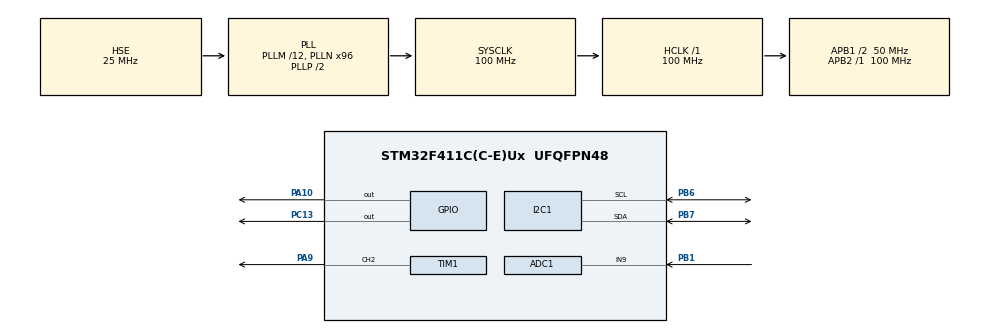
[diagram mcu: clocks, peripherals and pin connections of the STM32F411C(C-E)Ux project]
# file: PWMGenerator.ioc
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ADC1.Channel-2\#ChannelRegularConversion=ADC_CHANNEL_9
ADC1.ContinuousConvMode=ENABLE
ADC1.DMAContinuousRequests=ENABLE
ADC1.NbrOfConversion=1
ADC1.NbrOfConversionFlag=1
ADC1.Rank-2\#ChannelRegularConversion=1
ADC1.SamplingTime-2\#ChannelRegularConversion=ADC_SAMPLETIME_480CYCLES
ADC1.ScanConvMode=ENABLE
ADC1.master=1
Dma.ADC1.0.Direction=DMA_PERIPH_TO_MEMORY
Dma.ADC1.0.FIFOMode=DMA_FIFOMODE_DISABLE
Dma.ADC1.0.Instance=DMA2_Stream0
Dma.ADC1.0.MemDataAlignment=DMA_MDATAALIGN_HALFWORD
Dma.ADC1.0.MemInc=DMA_MINC_ENABLE
Dma.ADC1.0.Mode=DMA_CIRCULAR
Dma.ADC1.0.PeriphDataAlignment=DMA_PDATAALIGN_HALFWORD
Dma.ADC1.0.PeriphInc=DMA_PINC_DISABLE
Dma.ADC1.0.Priority=DMA_PRIORITY_LOW
Dma.Request0=ADC1
I2C1.I2C_Mode=I2C_Fast
Mcu.Family=STM32F4
Mcu.Name=STM32F411C(C-E)Ux
Mcu.Package=UFQFPN48
NVIC.DMA2_Stream0_IRQn=true\:0\:0\:false\:false\:true\:false\:true\:true
NVIC.PriorityGroup=NVIC_PRIORITYGROUP_4
PA10.Signal=GPIO_Output
PA13.Mode=Serial_Wire
PA13.Signal=SYS_JTMS-SWDIO
PA14.Mode=Serial_Wire
PA14.Signal=SYS_JTCK-SWCLK
PA9.Signal=S_TIM1_CH2
PB1.Signal=ADCx_IN9
PB6.Mode=I2C
PB6.Signal=I2C1_SCL
PB7.Mode=I2C
PB7.Signal=I2C1_SDA
PC13-ANTI_TAMP.Signal=GPIO_Output
PH0\ -\ OSC_IN.Mode=HSE-External-Oscillator
PH0\ -\ OSC_IN.Signal=RCC_OSC_IN
PH1\ -\ OSC_OUT.Mode=HSE-External-Oscillator
PH1\ -\ OSC_OUT.Signal=RCC_OSC_OUT
ProjectManager.HeapSize=0x200
ProjectManager.StackSize=0x400
ProjectManager.TargetToolchain=STM32CubeIDE
RCC.48MHZClocksFreq_Value=50000000
RCC.AHBFreq_Value=100000000
RCC.APB1CLKDivider=RCC_HCLK_DIV2
RCC.APB1Freq_Value=50000000
RCC.APB1TimFreq_Value=100000000
RCC.APB2Freq_Value=100000000
RCC.APB2TimFreq_Value=100000000
RCC.CortexFreq_Value=100000000
RCC.HCLKFreq_Value=100000000
RCC.HSE_VALUE=25000000
RCC.HSI_VALUE=16000000
RCC.LSE_VALUE=32768
RCC.PLLM=12
RCC.PLLN=96
RCC.PLLSourceVirtual=RCC_PLLSOURCE_HSE
RCC.SYSCLKFreq_VALUE=100000000
RCC.SYSCLKSource=RCC_SYSCLKSOURCE_PLLCLK
RCC.VCOOutputFreq_Value=200000000
SH.ADCx_IN9.0=ADC1_IN9,IN9
SH.S_TIM1_CH2.0=TIM1_CH2,PWM Generation2 CH2
TIM1.AutoReloadPreload=TIM_AUTORELOAD_PRELOAD_ENABLE
TIM1.Channel-PWM\ Generation2\ CH2=TIM_CHANNEL_2
TIM1.Period=20000-1
TIM1.Prescaler=100-1
VP_TIM1_VS_ClockSourceINT.Mode=Internal
board=custom

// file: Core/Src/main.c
/* USER CODE BEGIN Header */
/**
  ******************************************************************************
  * @file           : main.c
  * @brief          : Main program body
  ******************************************************************************
  * @attention
  *
  * Copyright (c) 2023 STMicroelectronics.
  * All rights reserved.
  *
  * This software is licensed under terms that can be found in the LICENSE file
  * in the root directory of this software component.
  * If no LICENSE file comes with this software, it is provided AS-IS.
  *
  * OLED:
  * https://controllerstech.com/oled-display-using-i2c-stm32/
  ******************************************************************************
  */
/* USER CODE END Header */
#include "main.h"

/* USER CODE BEGIN Includes */

#include <stdio.h>
#include "ssd1306.h"
#include "fonts.h"
#include "test.h"

/* USER CODE END Includes */

ADC_HandleTypeDef hadc1;
DMA_HandleTypeDef hdma_adc1;

I2C_HandleTypeDef hi2c1;

TIM_HandleTypeDef htim1;

void SystemClock_Config(void);
static void MX_GPIO_Init(void);
static void MX_DMA_Init(void);
static void MX_TIM1_Init(void);
static void MX_ADC1_Init(void);
static void MX_I2C1_Init(void);

/* USER CODE BEGIN 0 */
uint32_t adcDMA = 0;
uint16_t readValue;
uint16_t readMin = 4095;
uint16_t readMax = 0;
uint16_t readRange = 0;
uint16_t readMap;
float dutyCycle;
uint16_t period = 20000; // 50 Hz = 20ms = 20000us
uint16_t dutyTime;
uint16_t remainderTime;
uint16_t pw_desired;

float EMA_a = 0.6;      //initialization of EMA alpha ( Exponential Moving Average Filter )
int EMA_S = 0;          //initialization of EMA S

char strBuf[50];

void delay_us (uint16_t us)
{
	__HAL_TIM_SET_COUNTER(&htim1,0);  // set the counter value a 0
	while (__HAL_TIM_GET_COUNTER(&htim1) < us);  // wait for the counter to reach the us input in the parameter
}

static void setDutyCycle(TIM_HandleTypeDef* const htim, uint32_t channel, float duty_cycle) {
	if (duty_cycle > 100)
		duty_cycle = 100;

	if (duty_cycle < 0)
		duty_cycle = 0;

	float pw_resolution = (((float)(*htim).Init.Period + 1.0f) / 100.0f);

	pw_desired = pw_resolution * duty_cycle;
	__HAL_TIM_SET_COMPARE(htim, channel, pw_desired);
}

/* USER CODE END 0 */

int main(void)
{

  /* MCU Configuration--------------------------------------------------------*/

  /* Reset of all peripherals, Initializes the Flash interface and the Systick. */
  HAL_Init();

  /* Configure the system clock */
  SystemClock_Config();

  /* Initialize all configured peripherals */
  MX_GPIO_Init();
  MX_DMA_Init();
  MX_TIM1_Init();
  MX_ADC1_Init();
  MX_I2C1_Init();
  /* USER CODE BEGIN 2 */

  //HAL_ADCEx_Calibration_Start(&hadc1);

  SSD1306_Init (); // initialize the display

  SSD1306_GotoXY (10,5); // goto 10, 10
  SSD1306_Puts ("Omar", &Font_11x18, 1); // print Hello
  SSD1306_GotoXY (10, 25);
  SSD1306_Puts ("Achraf", &Font_11x18, 1);
  SSD1306_GotoXY (10,45);
  SSD1306_Puts ("Calibrating...", &Font_7x10, 1);
  SSD1306_UpdateScreen(); // update screen

  uint32_t prevTicks = HAL_GetTick();
  uint32_t currTicks;
  uint32_t loopCounter = 0;

  do {
	  HAL_GPIO_TogglePin(GPIOC, GPIO_PIN_13);
	  HAL_Delay(50);
	  currTicks = HAL_GetTick();
  } while (HAL_ADC_GetState(&hadc1) != HAL_ADC_STATE_READY || (currTicks - prevTicks < 3000));

  HAL_ADC_Start_DMA(&hadc1, &adcDMA, 1);
  HAL_TIM_Base_Start(&htim1);
  HAL_TIM_PWM_Start(&htim1, TIM_CHANNEL_2);

  /* USER CODE END 2 */

  /* Infinite loop */
  /* USER CODE BEGIN WHILE */

  //HAL_GPIO_WritePin(GPIOC, GPIO_PIN_13, GPIO_PIN_RESET);
  //HAL_Delay(3000); // ADC Start
  //HAL_GPIO_WritePin(GPIOC, GPIO_PIN_13, GPIO_PIN_SET);

  while (1)
  {
	  if (loopCounter % 100 == 0) {
		  //HAL_ADC_Start(&hadc1);
		  //HAL_ADC_PollForConversion(&hadc1, 1000);
		  //readValue = HAL_ADC_GetValue(&hadc1);
		  //HAL_ADC_Stop(&hadc1);
		  readValue = adcDMA;

		  if (readValue > readMax)
			  readMax = readValue;

		  if (readValue < readMin)
			  readMin = readValue;

		  readRange = abs(readMax - readMin) + 1;
		  readMap = readValue - readMin;

		  EMA_S = (EMA_a * readValue) + ((1 - EMA_a) * EMA_S);    //run the EMA

		  dutyCycle = EMA_S/(float)4095; // % cycleq

		  dutyCycle = 0.15f/2.0f;

		  dutyTime = dutyCycle * period;
		  //remainderTime = period - dutyTime;

		  setDutyCycle(&htim1, TIM_CHANNEL_2, dutyCycle * 100.0F);
	  }

      // LED ON
      //HAL_GPIO_WritePin(GPIOA, GPIO_PIN_10, GPIO_PIN_SET);
      //delay_us(dutyTime);
      // LED OFF
      //HAL_GPIO_WritePin(GPIOA, GPIO_PIN_10, GPIO_PIN_RESET);
      //delay_us(remainderTime);

      currTicks = HAL_GetTick();

      if (currTicks - prevTicks > 200) {
    	  HAL_GPIO_TogglePin(GPIOC, GPIO_PIN_13);
    	  sprintf(strBuf, "DT:%6d ", dutyTime);
		  //SSD1306_Clear();
		  SSD1306_GotoXY (10,45);
		  SSD1306_Puts (strBuf, &Font_11x18, 1);
		  SSD1306_UpdateScreen();
		  prevTicks = currTicks;
      }

    /* USER CODE END WHILE */

    /* USER CODE BEGIN 3 */
      loopCounter++;

  }
  /* USER CODE END 3 */
}

void SystemClock_Config(void)
{
  RCC_OscInitTypeDef RCC_OscInitStruct = {0};
  RCC_ClkInitTypeDef RCC_ClkInitStruct = {0};

  /** Configure the main internal regulator output voltage
  */
  __HAL_RCC_PWR_CLK_ENABLE();
  __HAL_PWR_VOLTAGESCALING_CONFIG(PWR_REGULATOR_VOLTAGE_SCALE1);

  /** Initializes the RCC Oscillators according to the specified parameters
  * in the RCC_OscInitTypeDef structure.
  */
  RCC_OscInitStruct.OscillatorType = RCC_OSCILLATORTYPE_HSE;
  RCC_OscInitStruct.HSEState = RCC_HSE_ON;
  RCC_OscInitStruct.PLL.PLLState = RCC_PLL_ON;
  RCC_OscInitStruct.PLL.PLLSource = RCC_PLLSOURCE_HSE;
  RCC_OscInitStruct.PLL.PLLM = 12;
  RCC_OscInitStruct.PLL.PLLN = 96;
  RCC_OscInitStruct.PLL.PLLP = RCC_PLLP_DIV2;
  RCC_OscInitStruct.PLL.PLLQ = 4;
  if (HAL_RCC_OscConfig(&RCC_OscInitStruct) != HAL_OK)
  {
    Error_Handler();
  }

  /** Initializes the CPU, AHB and APB buses clocks
  */
  RCC_ClkInitStruct.ClockType = RCC_CLOCKTYPE_HCLK|RCC_CLOCKTYPE_SYSCLK
                              |RCC_CLOCKTYPE_PCLK1|RCC_CLOCKTYPE_PCLK2;
  RCC_ClkInitStruct.SYSCLKSource = RCC_SYSCLKSOURCE_PLLCLK;
  RCC_ClkInitStruct.AHBCLKDivider = RCC_SYSCLK_DIV1;
  RCC_ClkInitStruct.APB1CLKDivider = RCC_HCLK_DIV2;
  RCC_ClkInitStruct.APB2CLKDivider = RCC_HCLK_DIV1;

  if (HAL_RCC_ClockConfig(&RCC_ClkInitStruct, FLASH_LATENCY_3) != HAL_OK)
  {
    Error_Handler();
  }
}

static void MX_ADC1_Init(void)
{

  ADC_ChannelConfTypeDef sConfig = {0};

  /** Configure the global features of the ADC (Clock, Resolution, Data Alignment and number of conversion)
  */
  hadc1.Instance = ADC1;
  hadc1.Init.ClockPrescaler = ADC_CLOCK_SYNC_PCLK_DIV4;
  hadc1.Init.Resolution = ADC_RESOLUTION_12B;
  hadc1.Init.ScanConvMode = ENABLE;
  hadc1.Init.ContinuousConvMode = ENABLE;
  hadc1.Init.DiscontinuousConvMode = DISABLE;
  hadc1.Init.ExternalTrigConvEdge = ADC_EXTERNALTRIGCONVEDGE_NONE;
  hadc1.Init.ExternalTrigConv = ADC_SOFTWARE_START;
  hadc1.Init.DataAlign = ADC_DATAALIGN_RIGHT;
  hadc1.Init.NbrOfConversion = 1;
  hadc1.Init.DMAContinuousRequests = ENABLE;
  hadc1.Init.EOCSelection = ADC_EOC_SINGLE_CONV;
  if (HAL_ADC_Init(&hadc1) != HAL_OK)
  {
    Error_Handler();
  }

  /** Configure for the selected ADC regular channel its corresponding rank in the sequencer and its sample time.
  */
  sConfig.Channel = ADC_CHANNEL_9;
  sConfig.Rank = 1;
  sConfig.SamplingTime = ADC_SAMPLETIME_480CYCLES;
  if (HAL_ADC_ConfigChannel(&hadc1, &sConfig) != HAL_OK)
  {
    Error_Handler();
  }

}

static void MX_I2C1_Init(void)
{

  hi2c1.Instance = I2C1;
  hi2c1.Init.ClockSpeed = 400000;
  hi2c1.Init.DutyCycle = I2C_DUTYCYCLE_2;
  hi2c1.Init.OwnAddress1 = 0;
  hi2c1.Init.AddressingMode = I2C_ADDRESSINGMODE_7BIT;
  hi2c1.Init.DualAddressMode = I2C_DUALADDRESS_DISABLE;
  hi2c1.Init.OwnAddress2 = 0;
  hi2c1.Init.GeneralCallMode = I2C_GENERALCALL_DISABLE;
  hi2c1.Init.NoStretchMode = I2C_NOSTRETCH_DISABLE;
  if (HAL_I2C_Init(&hi2c1) != HAL_OK)
  {
    Error_Handler();
  }

}

static void MX_TIM1_Init(void)
{

  TIM_ClockConfigTypeDef sClockSourceConfig = {0};
  TIM_MasterConfigTypeDef sMasterConfig = {0};
  TIM_OC_InitTypeDef sConfigOC = {0};
  TIM_BreakDeadTimeConfigTypeDef sBreakDeadTimeConfig = {0};

  htim1.Instance = TIM1;
  htim1.Init.Prescaler = 100-1;
  htim1.Init.CounterMode = TIM_COUNTERMODE_UP;
  htim1.Init.Period = 20000-1;
  htim1.Init.ClockDivision = TIM_CLOCKDIVISION_DIV1;
  htim1.Init.RepetitionCounter = 0;
  htim1.Init.AutoReloadPreload = TIM_AUTORELOAD_PRELOAD_ENABLE;
  if (HAL_TIM_Base_Init(&htim1) != HAL_OK)
  {
    Error_Handler();
  }
  sClockSourceConfig.ClockSource = TIM_CLOCKSOURCE_INTERNAL;
  if (HAL_TIM_ConfigClockSource(&htim1, &sClockSourceConfig) != HAL_OK)
  {
    Error_Handler();
  }
  if (HAL_TIM_PWM_Init(&htim1) != HAL_OK)
  {
    Error_Handler();
  }
  sMasterConfig.MasterOutputTrigger = TIM_TRGO_RESET;
  sMasterConfig.MasterSlaveMode = TIM_MASTERSLAVEMODE_DISABLE;
  if (HAL_TIMEx_MasterConfigSynchronization(&htim1, &sMasterConfig) != HAL_OK)
  {
    Error_Handler();
  }
  sConfigOC.OCMode = TIM_OCMODE_PWM1;
  sConfigOC.Pulse = 0;
  sConfigOC.OCPolarity = TIM_OCPOLARITY_HIGH;
  sConfigOC.OCNPolarity = TIM_OCNPOLARITY_HIGH;
  sConfigOC.OCFastMode = TIM_OCFAST_DISABLE;
  sConfigOC.OCIdleState = TIM_OCIDLESTATE_RESET;
  sConfigOC.OCNIdleState = TIM_OCNIDLESTATE_RESET;
  if (HAL_TIM_PWM_ConfigChannel(&htim1, &sConfigOC, TIM_CHANNEL_2) != HAL_OK)
  {
    Error_Handler();
  }
  sBreakDeadTimeConfig.OffStateRunMode = TIM_OSSR_DISABLE;
  sBreakDeadTimeConfig.OffStateIDLEMode = TIM_OSSI_DISABLE;
  sBreakDeadTimeConfig.LockLevel = TIM_LOCKLEVEL_OFF;
  sBreakDeadTimeConfig.DeadTime = 0;
  sBreakDeadTimeConfig.BreakState = TIM_BREAK_DISABLE;
  sBreakDeadTimeConfig.BreakPolarity = TIM_BREAKPOLARITY_HIGH;
  sBreakDeadTimeConfig.AutomaticOutput = TIM_AUTOMATICOUTPUT_DISABLE;
  if (HAL_TIMEx_ConfigBreakDeadTime(&htim1, &sBreakDeadTimeConfig) != HAL_OK)
  {
    Error_Handler();
  }
  HAL_TIM_MspPostInit(&htim1);

}

static void MX_DMA_Init(void)
{

  /* DMA controller clock enable */
  __HAL_RCC_DMA2_CLK_ENABLE();

  /* DMA interrupt init */
  /* DMA2_Stream0_IRQn interrupt configuration */
  HAL_NVIC_SetPriority(DMA2_Stream0_IRQn, 0, 0);
  HAL_NVIC_EnableIRQ(DMA2_Stream0_IRQn);

}

static void MX_GPIO_Init(void)
{
  GPIO_InitTypeDef GPIO_InitStruct = {0};

  /* GPIO Ports Clock Enable */
  __HAL_RCC_GPIOC_CLK_ENABLE();
  __HAL_RCC_GPIOH_CLK_ENABLE();
  __HAL_RCC_GPIOB_CLK_ENABLE();
  __HAL_RCC_GPIOA_CLK_ENABLE();

  /*Configure GPIO pin Output Level */
  HAL_GPIO_WritePin(GPIOC, GPIO_PIN_13, GPIO_PIN_RESET);

  /*Configure GPIO pin Output Level */
  HAL_GPIO_WritePin(GPIOA, GPIO_PIN_10, GPIO_PIN_RESET);

  /*Configure GPIO pin : PC13 */
  GPIO_InitStruct.Pin = GPIO_PIN_13;
  GPIO_InitStruct.Mode = GPIO_MODE_OUTPUT_PP;
  GPIO_InitStruct.Pull = GPIO_NOPULL;
  GPIO_InitStruct.Speed = GPIO_SPEED_FREQ_LOW;
  HAL_GPIO_Init(GPIOC, &GPIO_InitStruct);

  /*Configure GPIO pin : PA10 */
  GPIO_InitStruct.Pin = GPIO_PIN_10;
  GPIO_InitStruct.Mode = GPIO_MODE_OUTPUT_PP;
  GPIO_InitStruct.Pull = GPIO_NOPULL;
  GPIO_InitStruct.Speed = GPIO_SPEED_FREQ_LOW;
  HAL_GPIO_Init(GPIOA, &GPIO_InitStruct);

}

void Error_Handler(void)
{
  __disable_irq();
  while (1)
  {
  }
}
